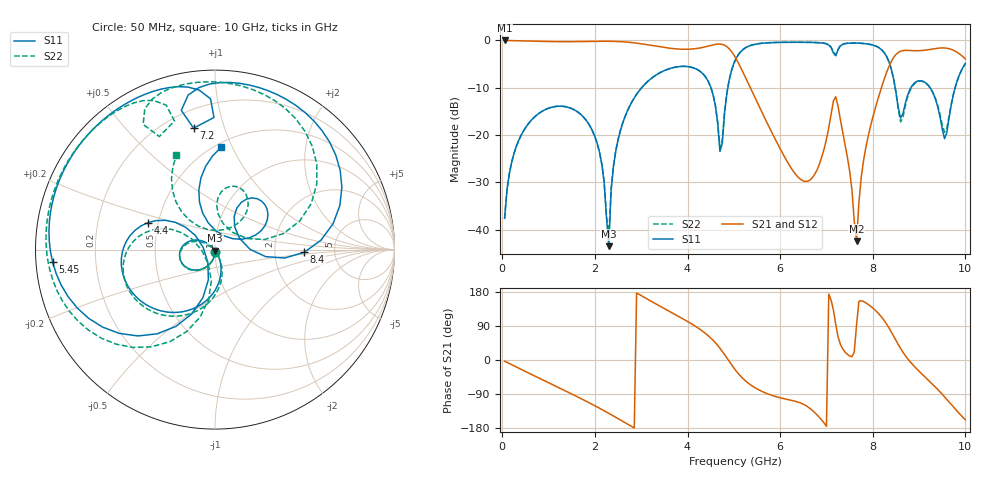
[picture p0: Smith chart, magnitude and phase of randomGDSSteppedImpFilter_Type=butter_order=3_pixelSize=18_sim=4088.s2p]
! freq	dB(S11)	phase(S11)	dB(S12)	phase(S12)
!  dB(S21)	phase(S21)	dB(S22)	phase(S22)
!S-par simulation data
#  GHz  S  DB  R 50
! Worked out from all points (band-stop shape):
!   200 points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, 50 MHz to 10 GHz, reference 50 ohm
!   highest |S21| = -0.02 dB at 50 MHz (marker M1); lowest = -42.5 dB at 7.65 GHz (marker M2)
!   |S21| within 3 dB of the highest: start of sweep to 4.996 GHz; 8.497 GHz to 9.892 GHz (1.395 GHz wide, 15.2 % of centre)
!   lowest |S11| = -43.5 dB at 2.3 GHz (marker M3), VSWR 1.01, Z = 50.1 - j0.665 ohm
!   |S11| at or under -10 dB: start of sweep to 3.011 GHz; 4.504 GHz to 4.871 GHz (366.5 MHz wide, 7.82 % of centre); 9.236 GHz to 9.779 GHz (543.8 MHz wide, 5.72 % of centre) (the widest 3 of 4)
!   |S22| runs from -41.3 to -0.4 dB; largest |S21 - S12| = 0
!   S11 on the Smith chart (normalised r, x): 50 MHz: 1.00, -0.03; 4.4 GHz: 0.44, +0.16; 5.45 GHz: 0.05, -0.04; 7.2 GHz: 0.31, +0.79; 8.4 GHz: 2.97, -0.12; 10 GHz: 0.54, +0.91
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0.05  -37.60 -86.2  -0.02 -3.1  -0.02 -3.1  -37.61 -86.0
0.55  -17.79 -123.6  -0.13 -33.3  -0.13 -33.3  -17.79 -122.6
1.75  -16.18 163.6  -0.24 -105.0  -0.24 -105.0  -16.18 167.0
2.1  -23.67 142.1  -0.18 -127.4  -0.18 -127.4  -23.67 147.6
2.3  -43.50 -84.1  -0.18 -140.8  -0.18 -140.8  -41.29 -97.4
2.55  -19.08 -72.2  -0.27 -158.2  -0.27 -158.2  -19.05 -69.8
3.4  -6.86 -131.1  -1.35 142.3  -1.35 142.3  -6.85 -125.7
4.4  -7.89 158.1  -1.33 68.9  -1.33 68.9  -7.88 166.6
4.7  -23.49 169.7  -0.77 31.0  -0.77 31.0  -22.58 -177.6
5.05  -3.81 -131.8  -3.90 -29.0  -3.90 -29.0  -3.78 -123.2
5.45  -0.85 -175.5  -12.00 -72.7  -12.00 -72.7  -0.83 -165.2
6.7  -0.44 116.4  -28.97 -133.6  -28.97 -133.6  -0.43 131.5
7.2  -3.26 100.0  -11.90 94.1  -11.90 94.1  -3.07 116.2
7.65  -0.58 74.9  -42.48 92.9  -42.48 92.9  -0.57 93.4
7.85  -0.71 60.7  -22.66 150.8  -22.66 150.8  -0.70 80.1
8.35  -4.55 5.0  -5.52 84.7  -5.52 84.7  -4.51 25.6
8.4  -6.08 -1.8  -4.47 74.1  -4.47 74.1  -6.04 18.7
8.6  -16.42 24.1  -2.30 30.6  -2.30 30.6  -17.22 44.1
8.75  -11.66 62.3  -2.11 3.9  -2.11 3.9  -12.02 87.9
9.4  -13.94 18.9  -1.67 -77.3  -1.67 -77.3  -13.69 48.3
9.55  -20.78 57.3  -1.61 -97.2  -1.61 -97.2  -19.42 83.6
10  -4.86 86.6  -3.92 -157.8  -3.92 -157.8  -4.93 112.3
